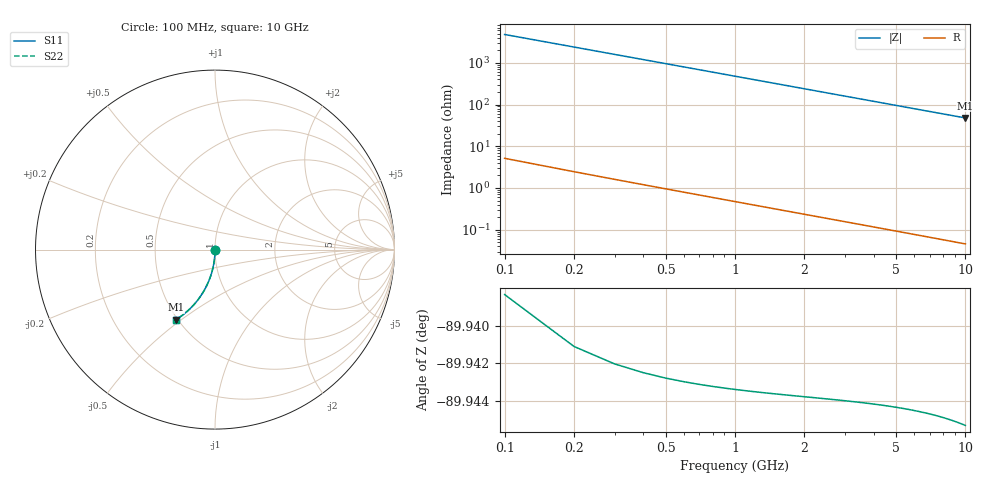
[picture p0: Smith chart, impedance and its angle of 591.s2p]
# Hz S RI R 50.00
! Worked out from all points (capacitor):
!   100 points, 100 MHz to 10 GHz, reference 50 ohm
!   read as one part in shunt: C = 332 fF near 100 MHz
!   lowest |Z| = 47.9 ohm at 10 GHz (marker M1)
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1e8  2.17e-05 -0.005  0.9999 -0.00543  0.9999 -0.00543  2.17e-05 -0.005
2e8  -6.45e-05 -0.01  0.9998 -0.0109  0.9998 -0.0109  -6.45e-05 -0.01
3e8  -0.000205 -0.015  0.9997 -0.0163  0.9997 -0.0163  -0.000205 -0.015
4e8  -0.0004 -0.02  0.9995 -0.0217  0.9995 -0.0217  -0.0004 -0.02
5e8  -0.000649 -0.025  0.9992 -0.0271  0.9992 -0.0271  -0.000649 -0.025
6e8  -0.000953 -0.03  0.9989 -0.0326  0.9989 -0.0326  -0.000953 -0.03
7e8  -0.00131 -0.035  0.9986 -0.038  0.9986 -0.038  -0.00131 -0.035
8e8  -0.00172 -0.0399  0.9982 -0.0434  0.9982 -0.0434  -0.00172 -0.0399
9e8  -0.00219 -0.0449  0.9977 -0.0488  0.9977 -0.0488  -0.00219 -0.0449
1.1e9  -0.00328 -0.0548  0.9966 -0.0596  0.9966 -0.0596  -0.00328 -0.0548
1.4e9  -0.00532 -0.0697  0.9945 -0.0757  0.9945 -0.0757  -0.00532 -0.0697
1.8e9  -0.00878 -0.0893  0.9911 -0.0971  0.9911 -0.0971  -0.00878 -0.0893
2.1e9  -0.0119 -0.1038  0.9879 -0.1129  0.9879 -0.1129  -0.0119 -0.1038
2.5e9  -0.0168 -0.123  0.983 -0.1338  0.983 -0.1338  -0.0168 -0.123
2.9e9  -0.0225 -0.1419  0.9773 -0.1545  0.9773 -0.1545  -0.0225 -0.1419
3.4e9  -0.0307 -0.165  0.9691 -0.1797  0.9691 -0.1797  -0.0307 -0.165
4.2e9  -0.0462 -0.2006  0.9535 -0.2189  0.9535 -0.2189  -0.0462 -0.2006
5.1e9  -0.0668 -0.2384  0.9329 -0.2606  0.9329 -0.2606  -0.0668 -0.2384
5.9e9  -0.0875 -0.2696  0.912 -0.2953  0.912 -0.2953  -0.0875 -0.2696
6.7e9  -0.1103 -0.2985  0.8891 -0.3278  0.8891 -0.3278  -0.1103 -0.2985
8.4e9  -0.1637 -0.3514  0.8355 -0.3883  0.8355 -0.3883  -0.1637 -0.3514
1e10  -0.2178 -0.3906  0.7811 -0.4347  0.7811 -0.4347  -0.2178 -0.3906
